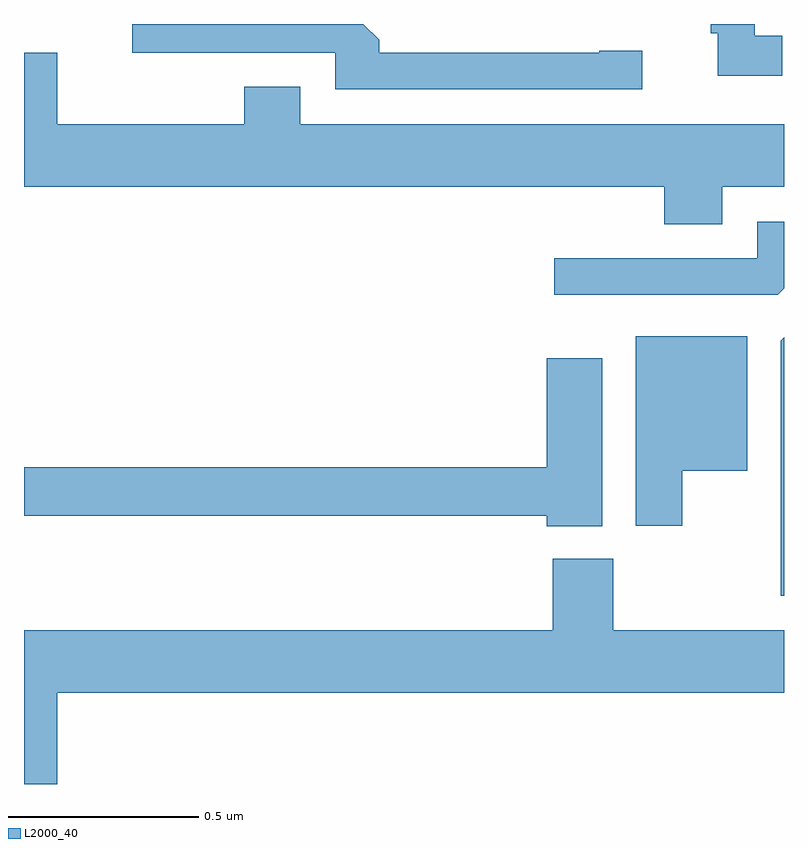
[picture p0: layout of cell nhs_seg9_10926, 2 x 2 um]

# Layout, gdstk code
import gdstk
lib = gdstk.Library(unit=1e-6, precision=1e-09)
def P(c, l, *ps):  # polygons
    for p in ps: c.add(gdstk.Polygon(p, *l))
L2000_40 = (2000, 40)

nhs_seg9_10926 = lib.new_cell('nhs_seg9_10926')
P(nhs_seg9_10926, L2000_40, [(250.996,1211.469),(250.923,1211.469),(250.923,1211.5),(250.807,1211.5),(250.807,1211.476),(250.826,1211.476),(250.826,1211.364),(250.996,1211.364)],
  [(250.627,1211.429),(250.514,1211.429),(250.514,1211.424),(249.935,1211.424),(249.935,1211.458),(249.893,1211.5),(249.285,1211.5),(249.285,1211.424),(249.819,1211.424),(249.819,1211.328),(250.627,1211.328)],
  [(250.837,1211.072),(251,1211.072),(251,1211.236),(249.727,1211.236),(249.727,1211.335),(249.58,1211.335),(249.58,1211.236),(249.088,1211.236),(249.088,1211.425),(249,1211.425),(249,1211.072),(250.685,1211.072),(250.685,1210.973),(250.837,1210.973)],
  [(251,1210.805),(251,1210.98),(250.929,1210.98),(250.929,1210.884),(250.395,1210.884),(250.395,1210.788),(250.983,1210.788)],
  [(250.732,1210.325),(250.903,1210.325),(250.903,1210.678),(250.61,1210.678),(250.61,1210.179),(250.732,1210.179)],
  [(251,1210.676),(250.991,1210.667),(250.991,1209.995),(251,1209.995)],
  [(250.522,1210.621),(250.376,1210.621),(250.376,1210.334),(249,1210.334),(249,1210.206),(250.376,1210.206),(250.376,1210.178),(250.522,1210.178)],
  [(249.088,1209.74),(251,1209.74),(251,1209.904),(250.551,1209.904),(250.551,1210.093),(250.391,1210.093),(250.391,1209.904),(249,1209.904),(249,1209.5),(249.088,1209.5)])

lib.write_gds('nhs_seg9_10926.gds')
